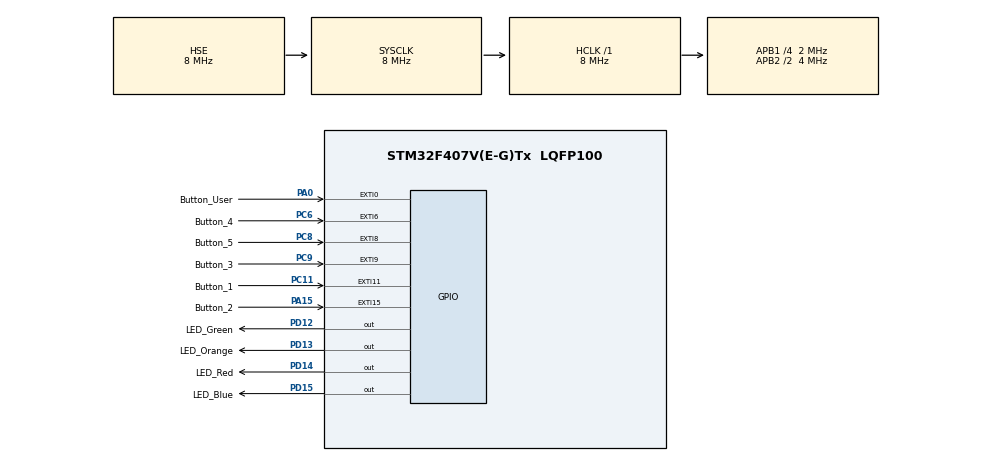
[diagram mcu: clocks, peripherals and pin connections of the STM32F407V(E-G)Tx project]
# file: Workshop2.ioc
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Mcu.Family=STM32F4
Mcu.Name=STM32F407V(E-G)Tx
Mcu.Package=LQFP100
NVIC.EXTI0_IRQn=true\:0\:0\:false\:false\:true\:true\:true\:true
NVIC.EXTI15_10_IRQn=true\:0\:0\:false\:false\:true\:true\:true\:true
NVIC.EXTI9_5_IRQn=true\:0\:0\:false\:false\:true\:true\:true\:true
NVIC.PriorityGroup=NVIC_PRIORITYGROUP_0
PA0-WKUP.GPIO_Label=Button_User
PA0-WKUP.GPIO_ModeDefaultEXTI=GPIO_MODE_IT_RISING
PA0-WKUP.Signal=GPXTI0
PA15.GPIO_Label=Button_2
PA15.GPIO_ModeDefaultEXTI=GPIO_MODE_IT_FALLING
PA15.Signal=GPXTI15
PC11.GPIO_Label=Button_1
PC11.GPIO_ModeDefaultEXTI=GPIO_MODE_IT_FALLING
PC11.Signal=GPXTI11
PC6.GPIO_Label=Button_4
PC6.GPIO_ModeDefaultEXTI=GPIO_MODE_IT_FALLING
PC6.Signal=GPXTI6
PC8.GPIO_Label=Button_5
PC8.GPIO_ModeDefaultEXTI=GPIO_MODE_IT_FALLING
PC8.Signal=GPXTI8
PC9.GPIO_Label=Button_3
PC9.GPIO_ModeDefaultEXTI=GPIO_MODE_IT_FALLING
PC9.Signal=GPXTI9
PD12.GPIO_Label=LED_Green
PD12.GPIO_PuPd=GPIO_NOPULL
PD12.GPIO_Speed=GPIO_SPEED_FREQ_LOW
PD12.Signal=GPIO_Output
PD13.GPIO_Label=LED_Orange
PD13.GPIO_PuPd=GPIO_NOPULL
PD13.GPIO_Speed=GPIO_SPEED_FREQ_LOW
PD13.Signal=GPIO_Output
PD14.GPIO_Label=LED_Red
PD14.GPIO_PuPd=GPIO_NOPULL
PD14.GPIO_Speed=GPIO_SPEED_FREQ_LOW
PD14.Signal=GPIO_Output
PD15.GPIO_Label=LED_Blue
PD15.Signal=GPIO_Output
PH0-OSC_IN.Mode=HSE-External-Oscillator
PH0-OSC_IN.Signal=RCC_OSC_IN
PH1-OSC_OUT.Mode=HSE-External-Oscillator
PH1-OSC_OUT.Signal=RCC_OSC_OUT
ProjectManager.HeapSize=0x200
ProjectManager.StackSize=0x400
ProjectManager.TargetToolchain=STM32CubeIDE
RCC.48MHZClocksFreq_Value=96000000
RCC.AHBFreq_Value=8000000
RCC.APB1CLKDivider=RCC_HCLK_DIV4
RCC.APB1Freq_Value=2000000
RCC.APB1TimFreq_Value=4000000
RCC.APB2CLKDivider=RCC_HCLK_DIV2
RCC.APB2Freq_Value=4000000
RCC.APB2TimFreq_Value=8000000
RCC.CortexFreq_Value=8000000
RCC.HCLKFreq_Value=8000000
RCC.HSE_VALUE=8000000
RCC.HSI_VALUE=16000000
RCC.LSE_VALUE=32768
RCC.PLLM=8
RCC.PLLN=336
RCC.PLLQ=7
RCC.SYSCLKFreq_VALUE=8000000
RCC.SYSCLKSource=RCC_SYSCLKSOURCE_HSE
RCC.VCOOutputFreq_Value=672000000
board=STM32F407G-DISC1

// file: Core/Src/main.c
/* USER CODE BEGIN Header */
/**
  ******************************************************************************
  * @file           : main.c
  * @brief          : Main program body
  ******************************************************************************
  * @attention
  *
  * Copyright (c) 2026 STMicroelectronics.
  * All rights reserved.
  *
  * This software is licensed under terms that can be found in the LICENSE file
  * in the root directory of this software component.
  * If no LICENSE file comes with this software, it is provided AS-IS.
  *
  ******************************************************************************
  */
/* USER CODE END Header */
#include "main.h"

/* USER CODE BEGIN PV */
volatile int LED_state = 1;
volatile int LED_delay = 160;
volatile int LED_pattern = 0;
/* USER CODE END PV */

void SystemClock_Config(void);
static void MX_GPIO_Init(void);

/* USER CODE BEGIN 0 */

void next_LED_pattern(){
	if(LED_pattern == 3){
		LED_pattern = 0;
	}
	else{
		LED_pattern++;
	}
}

void previous_LED_pattern(){
	if(LED_pattern == 0){
		LED_pattern = 3;
	}
	else{
		LED_pattern--;
	}
}

void turn_LED(){
	//Flip the LED_state value, stopping the main blink loop
	if(LED_state != 1){
		LED_state = 1;
	}
	else{
		LED_state = 0;
	}

}

void increase_LED_speed(){
	if(LED_delay>80){
		LED_delay = LED_delay-40;
	}
}

void decrease_LED_speed(){
	if(LED_delay < 320){
		LED_delay = LED_delay+40;
	}
}
/* USER CODE END 0 */

int main(void)
{

  /* MCU Configuration--------------------------------------------------------*/

  /* Reset of all peripherals, Initializes the Flash interface and the Systick. */
  HAL_Init();

  /* Configure the system clock */
  SystemClock_Config();

  /* Initialize all configured peripherals */
  MX_GPIO_Init();

  /* Infinite loop */
  /* USER CODE BEGIN WHILE */
  while (1)
  {
	  while(LED_state == 1){
		  switch(LED_pattern){
			  case 0:
				  HAL_GPIO_TogglePin(LED_Red_GPIO_Port, LED_Red_Pin);
				  HAL_GPIO_TogglePin(LED_Green_GPIO_Port, LED_Green_Pin);
				  HAL_Delay(LED_delay);
				  HAL_GPIO_TogglePin(LED_Orange_GPIO_Port, LED_Orange_Pin);
				  HAL_GPIO_TogglePin(LED_Blue_GPIO_Port, LED_Blue_Pin);
				  HAL_Delay(LED_delay);
				  break;

			  case 1:
				  HAL_GPIO_TogglePin(LED_Blue_GPIO_Port, LED_Blue_Pin);
				  HAL_GPIO_TogglePin(LED_Red_GPIO_Port, LED_Red_Pin);
				  HAL_Delay(LED_delay);
				  HAL_GPIO_TogglePin(LED_Orange_GPIO_Port, LED_Orange_Pin);
				  HAL_GPIO_TogglePin(LED_Green_GPIO_Port, LED_Green_Pin);
				  HAL_Delay(LED_delay);
				  break;

			  case 2:
				  HAL_GPIO_TogglePin(LED_Blue_GPIO_Port, LED_Blue_Pin);
				  HAL_GPIO_TogglePin(LED_Green_GPIO_Port, LED_Green_Pin);
				  HAL_Delay(LED_delay);
				  HAL_GPIO_TogglePin(LED_Orange_GPIO_Port, LED_Orange_Pin);
				  HAL_GPIO_TogglePin(LED_Red_GPIO_Port, LED_Red_Pin);
				  HAL_Delay(LED_delay);
				  break;

			  case 3:
				  HAL_GPIO_TogglePin(LED_Blue_GPIO_Port, LED_Blue_Pin);
				  HAL_Delay(LED_delay);
				  HAL_GPIO_TogglePin(LED_Red_GPIO_Port, LED_Red_Pin);
				  HAL_Delay(LED_delay);
				  HAL_GPIO_TogglePin(LED_Orange_GPIO_Port, LED_Orange_Pin);
				  HAL_Delay(LED_delay);
				  HAL_GPIO_TogglePin(LED_Green_GPIO_Port, LED_Green_Pin);
				  HAL_Delay(LED_delay);
				  break;

		  }
	  }
    /* USER CODE END WHILE */

  }
}

void SystemClock_Config(void)
{
  RCC_OscInitTypeDef RCC_OscInitStruct = {0};
  RCC_ClkInitTypeDef RCC_ClkInitStruct = {0};

  /** Configure the main internal regulator output voltage
  */
  __HAL_RCC_PWR_CLK_ENABLE();
  __HAL_PWR_VOLTAGESCALING_CONFIG(PWR_REGULATOR_VOLTAGE_SCALE1);

  /** Initializes the RCC Oscillators according to the specified parameters
  * in the RCC_OscInitTypeDef structure.
  */
  RCC_OscInitStruct.OscillatorType = RCC_OSCILLATORTYPE_HSE;
  RCC_OscInitStruct.HSEState = RCC_HSE_ON;
  RCC_OscInitStruct.PLL.PLLState = RCC_PLL_NONE;
  if (HAL_RCC_OscConfig(&RCC_OscInitStruct) != HAL_OK)
  {
    Error_Handler();
  }

  /** Initializes the CPU, AHB and APB buses clocks
  */
  RCC_ClkInitStruct.ClockType = RCC_CLOCKTYPE_HCLK|RCC_CLOCKTYPE_SYSCLK
                              |RCC_CLOCKTYPE_PCLK1|RCC_CLOCKTYPE_PCLK2;
  RCC_ClkInitStruct.SYSCLKSource = RCC_SYSCLKSOURCE_HSE;
  RCC_ClkInitStruct.AHBCLKDivider = RCC_SYSCLK_DIV1;
  RCC_ClkInitStruct.APB1CLKDivider = RCC_HCLK_DIV4;
  RCC_ClkInitStruct.APB2CLKDivider = RCC_HCLK_DIV2;

  if (HAL_RCC_ClockConfig(&RCC_ClkInitStruct, FLASH_LATENCY_0) != HAL_OK)
  {
    Error_Handler();
  }
}

static void MX_GPIO_Init(void)
{
  GPIO_InitTypeDef GPIO_InitStruct = {0};

  /* GPIO Ports Clock Enable */
  __HAL_RCC_GPIOH_CLK_ENABLE();
  __HAL_RCC_GPIOA_CLK_ENABLE();
  __HAL_RCC_GPIOD_CLK_ENABLE();
  __HAL_RCC_GPIOC_CLK_ENABLE();

  /*Configure GPIO pin Output Level */
  HAL_GPIO_WritePin(GPIOD, LED_Green_Pin|LED_Orange_Pin|LED_Red_Pin|LED_Blue_Pin, GPIO_PIN_RESET);

  /*Configure GPIO pin : Button_User_Pin */
  GPIO_InitStruct.Pin = Button_User_Pin;
  GPIO_InitStruct.Mode = GPIO_MODE_IT_RISING;
  GPIO_InitStruct.Pull = GPIO_NOPULL;
  HAL_GPIO_Init(Button_User_GPIO_Port, &GPIO_InitStruct);

  /*Configure GPIO pins : LED_Green_Pin LED_Orange_Pin LED_Red_Pin LED_Blue_Pin */
  GPIO_InitStruct.Pin = LED_Green_Pin|LED_Orange_Pin|LED_Red_Pin|LED_Blue_Pin;
  GPIO_InitStruct.Mode = GPIO_MODE_OUTPUT_PP;
  GPIO_InitStruct.Pull = GPIO_NOPULL;
  GPIO_InitStruct.Speed = GPIO_SPEED_FREQ_LOW;
  HAL_GPIO_Init(GPIOD, &GPIO_InitStruct);

  /*Configure GPIO pins : Button_4_Pin Button_5_Pin Button_3_Pin Button_1_Pin */
  GPIO_InitStruct.Pin = Button_4_Pin|Button_5_Pin|Button_3_Pin|Button_1_Pin;
  GPIO_InitStruct.Mode = GPIO_MODE_IT_FALLING;
  GPIO_InitStruct.Pull = GPIO_NOPULL;
  HAL_GPIO_Init(GPIOC, &GPIO_InitStruct);

  /*Configure GPIO pin : Button_2_Pin */
  GPIO_InitStruct.Pin = Button_2_Pin;
  GPIO_InitStruct.Mode = GPIO_MODE_IT_FALLING;
  GPIO_InitStruct.Pull = GPIO_NOPULL;
  HAL_GPIO_Init(Button_2_GPIO_Port, &GPIO_InitStruct);

  /* EXTI interrupt init*/
  HAL_NVIC_SetPriority(EXTI0_IRQn, 0, 0);
  HAL_NVIC_EnableIRQ(EXTI0_IRQn);

  HAL_NVIC_SetPriority(EXTI9_5_IRQn, 0, 0);
  HAL_NVIC_EnableIRQ(EXTI9_5_IRQn);

  HAL_NVIC_SetPriority(EXTI15_10_IRQn, 0, 0);
  HAL_NVIC_EnableIRQ(EXTI15_10_IRQn);

}

void Error_Handler(void)
{
  __disable_irq();
  while (1)
  {
  }
}
